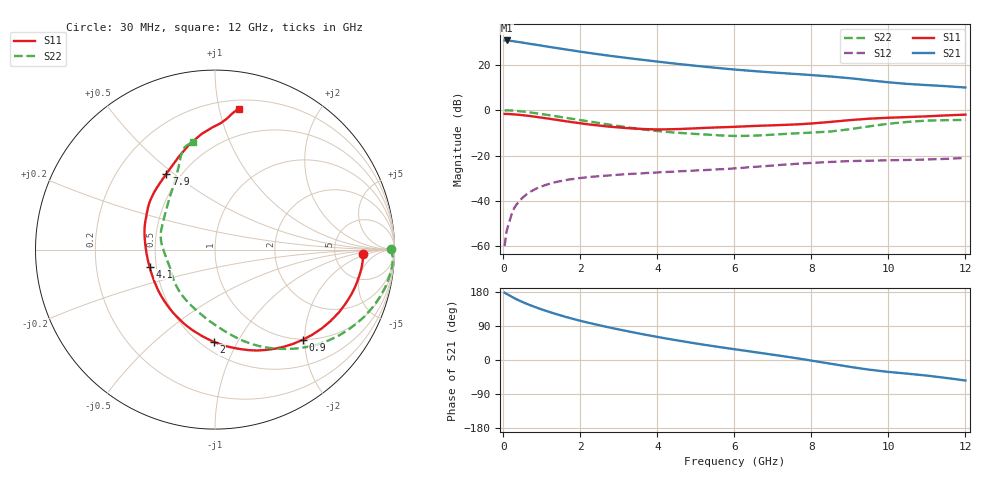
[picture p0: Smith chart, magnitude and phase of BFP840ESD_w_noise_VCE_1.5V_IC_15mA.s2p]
! Infineon Technologies  Discrete & RF Semiconductors
! BFP840ESD
! VCE =  1.5 V,  IC =  15 mA
! Common Emitter S-Parameters:  May 2012
# GHz  S  MA  R  50
!  f  S11  S21  S12  S22
! GHz  MAG  ANG  MAG  ANG  MAG  ANG  MAG  ANG
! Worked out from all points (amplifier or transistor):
!   93 points, 30 MHz to 12 GHz, reference 50 ohm
!   highest |S21| = 30.8 dB at 80 MHz (marker M1)
!   |S21| within 3 dB of that: start of sweep to 1.251 GHz
!   unconditionally stable (mu >= 1): 5.143 GHz to 8.825 GHz
!   at 1.1 GHz: K = 0.35, MSG = 30.6 dB, |S12| = -33.0 dB
!   at 4.2 GHz: K = 0.90, MSG = 24.2 dB, |S12| = -27.3 dB
!   at 12 GHz: K = 0.74, MSG = 15.5 dB, |S12| = -21.1 dB
!   lowest NFmin = 0.99 dB at 450 MHz
!   S11 on the Smith chart (normalised r, x): 30 MHz: 10, -1; 900 MHz: 0.99, -1.96; 2 GHz: 0.58, -0.80; 4.1 GHz: 0.46, -0.10; 7.9 GHz: 0.42, +0.47; 12 GHz: 0.27, +1.15
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0.03  0.8253 -1.6  34.45 177.6  0.001 87.8  0.9779 0.2
0.08  0.8256 -4.4  34.48 174.6  0.0021 120.8  0.9927 -2.6
0.28  0.8065 -15.4  32.99 163.4  0.0069 80.8  0.9734 -11.9
0.43  0.7853 -23.1  31.5 156.0  0.0102 76.6  0.9463 -17.9
0.6  0.7574 -31.6  29.88 148.4  0.0139 70.7  0.9111 -24.3
0.9  0.7014 -45.7  27.27 136.9  0.0195 62.8  0.8425 -34.4
1.1  0.6639 -54.6  25.6 129.9  0.0225 58.1  0.7958 -40.6
1.4  0.609 -67.4  23.33 120.3  0.0264 52.9  0.7268 -49.0
1.7  0.5566 -79.4  21.33 111.4  0.0295 47.8  0.6616 -56.7
2  0.5134 -90.9  19.51 103.5  0.0319 44.1  0.6035 -63.8
2.1  0.5 -94.6  18.97 100.9  0.0326 42.3  0.5861 -66.0
2.6  0.4469 -112.8  16.53 89.2  0.0356 38.0  0.5022 -76.7
3  0.4152 -126.9  14.92 80.6  0.0378 35.0  0.4457 -85.1
3.6  0.385 -148.1  12.94 68.4  0.0403 31.7  0.3792 -99.3
4.1  0.3768 -165.4  11.53 59.0  0.0429 29.6  0.3401 -112.3
5  0.3977 170.1  9.516 43.7  0.0468 26.7  0.2987 -134.6
6.1  0.4325 151.0  7.756 27.1  0.0528 24.6  0.2705 -160.0
7.9  0.5023 122.7  6.031 0.1  0.0679 15.3  0.3173 161.6
8.5  0.5513 112.0  5.525 -9.8  0.0721 11.0  0.3384 146.0
9.5  0.6487 96.6  4.559 -25.5  0.0767 2.9  0.4393 120.7
10.5  0.7046 87.5  3.791 -36.1  0.0797 -3.4  0.5511 110.3
12  0.7961 80.5  3.156 -54.1  0.0882 -10.4  0.6108 101.7
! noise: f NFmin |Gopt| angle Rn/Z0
0.45  0.99  0.16  1  0.14
0.9  1  0.16  3  0.13
1.5  1.01  0.16  7  0.13
1.9  1.02  0.14  11  0.12
2.4  1.02  0.11  16  0.11
3.5  1.03  0.02  54  0.1
5.5  1.06  0.09  -130  0.11
8  1.17  0.3  -112  0.13
10  1.29  0.51  -80  0.23
12  1.5  0.63  -66  0.32
